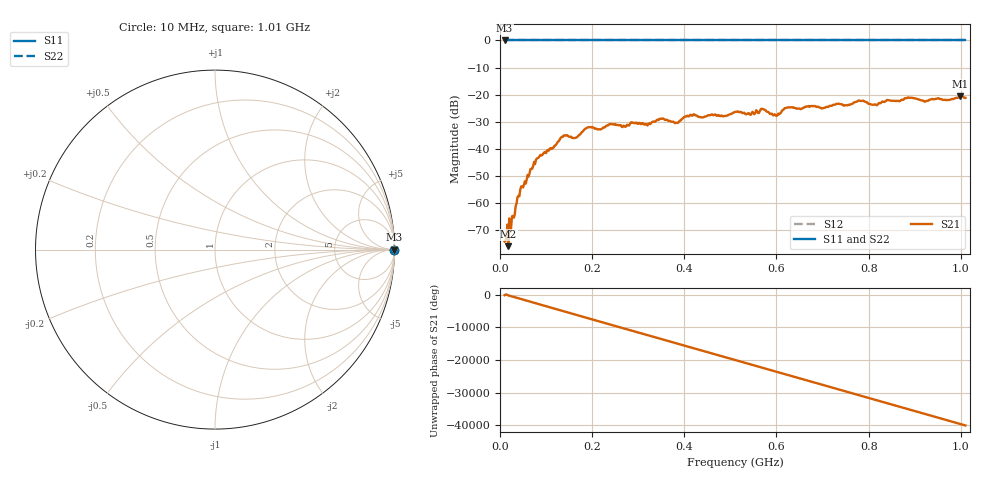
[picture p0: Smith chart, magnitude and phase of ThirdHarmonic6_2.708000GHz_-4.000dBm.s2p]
! 8/17/2025 6:31:28 AM
! C:\ANRITSUVNA\TEMP\TEMP.S2P
! CHANNEL.1
! TR.MEASUREMENT
! RAW.DATA
! RF.CORRECTION.OFF
! AVERAGING.OFF
! IF.BANDWIDTH: 5KHZ
! SWEEPTYPE:  FREQ.SWEEP(Linear)
! Reference Plane Port Info
! PORT:  PORT1  PORT2
! DISTANCE:  0  m  0  m
! TIME:  0  s  0  s
! PHASE.OFFSET:  0  deg.  0  deg.
! LOSS:  0  dB  0  dB
! REF.LOSS:  0  dB  0  dB
! REF.FREQ:  0  Hz  0  Hz
! Power Info
! POWER:  -20  dBm  -20  dBm
! EFF.POWER:  -20  dBm  -20  dBm
! SOURCE.ATTEN:  0  dB  0  dB
! TEST.ATTEN:  0  dB  0  dB
# GHZ S RI R 50.0
! FREQ.GHZ  S11RE  S11IM  S21RE  S21IM  S12RE  S12IM  S22RE  S22IM
!; PortSelection: Port_12
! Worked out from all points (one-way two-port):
!   501 points, 10 MHz to 1.01 GHz, reference 50 ohm
!   highest |S21| = -20.57 dB at 998 MHz (marker M1); lowest = -75.8 dB at 18 MHz (marker M2)
!   lowest |S11| = 0.0 dB at 10 MHz (marker M3)
!   |S11| at or under -10 dB: nowhere
!   |S22| runs from 0.0 to 0.0 dB; largest |S21 - S12| = 1.1
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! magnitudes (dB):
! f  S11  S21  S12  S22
! 10 MHz  0.0  -74.1  0.0  0.0
! 18 MHz  0.0  -75.8  0.0  0.0
! 42 MHz  0.0  -57.4  0.0  0.0
! 78 MHz  0.0  -44.1  0.0  0.0
! 136 MHz  0.0  -35.6  0.0  0.0
! 162 MHz  0.0  -36.0  0.0  0.0
! 178 MHz  0.0  -33.8  0.0  0.0
! 194 MHz  0.0  -31.9  0.0  0.0
! 318 MHz  0.0  -31.0  0.0  0.0
! 344 MHz  0.0  -29.3  0.0  0.0
! 382 MHz  0.0  -30.3  0.0  0.0
! 416 MHz  0.0  -27.7  0.0  0.0
! 510 MHz  0.0  -26.3  0.0  0.0
! 570 MHz  0.0  -25.2  0.0  0.0
! 598 MHz  0.0  -27.5  0.0  0.0
! 622 MHz  0.0  -24.8  0.0  0.0
! 678 MHz  0.0  -24.2  0.0  0.0
! 782 MHz  0.0  -22.2  0.0  0.0
! 814 MHz  0.0  -23.6  0.0  0.0
! 844 MHz  0.0  -22.1  0.0  0.0
! 998 MHz  0.0  -20.6  0.0  0.0
! 1.01 GHz  0.0  -21.2  0.0  0.0
